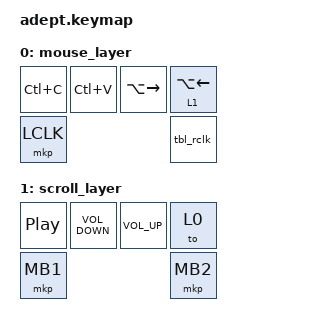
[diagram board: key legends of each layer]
/*
    No chosen zmk,matrix-transform here if using ZMK stuidio.
    https://zmk.dev/docs/features/studio#adding-zmk-studio-support-to-a-keyboard
*/

#include <behaviors.dtsi>
#include <dt-bindings/zmk/bt.h>
#include <input/processors.dtsi>
#include <dt-bindings/zmk/keys.h>
#include <dt-bindings/zmk/mouse.h>
#include <dt-bindings/zmk/outputs.h>
#include <dt-bindings/zmk/pointing.h>
#include <dt-bindings/zmk/behaviors.h>
#include <dt-bindings/zmk/input_transform.h>
#include <zephyr/dt-bindings/input/input-event-codes.h>

// keep all behavior settings for zmk studio
#define ZMK_BEHAVIORS_OMIT_KT

&sk { quick-release; };

&sl { release-after-ms = <1500>; };

&lt {
    flavor = "balanced";
    tapping-term-ms = <200>;
};

/ {
    behaviors {
        ht: hold_tap {
            compatible = "zmk,behavior-hold-tap";
            #binding-cells = <2>;
            flavor = "hold-preferred";
            tapping-term-ms = <200>;
            quick-tap-ms = <150>;
            require-prior-idle-ms = <100>;
            bindings = <&kp>, <&kp>;
        };

        // tap = right click, 2nd tap within term = toggle scroll layer
        tbl_rclk: tbl_rclk {
            compatible = "zmk,behavior-tap-dance";
            #binding-cells = <0>;
            tapping-term-ms = <250>;
            bindings = <&mkp RCLK>, <&tog 1>;
        };
    };

    combos {
        compatible = "zmk,combos";

        combo_mb3 {
            timeout-ms = <100>;
            key-positions = <4 5>;
            bindings = <&mkp MB3>;
            layers = <0 1>;
        };

        combo_close_window {
            timeout-ms = <75>;
            key-positions = <0 1>;
            bindings = <&kp LA(F4)>;
            layers = <0 1>;
        };

        combo_bootloader {
            timeout-ms = <150>;
            key-positions = <1 2>;
            bindings = <&bootloader>;
            layers = <0>;
        };

        combo_close_tab {
            timeout-ms = <75>;
            key-positions = <2 3>;
            bindings = <&kp LC(W)>;
            layers = <0 1>;
        };

        combo_scroll_tog {
            timeout-ms = <75>;
            key-positions = <3 4>;
            bindings = <&tog 1>;
            layers = <0 1>;
        };

        combo_enter {
            timeout-ms = <75>;
            key-positions = <3 5>;
            bindings = <&kp ENTER>;
            layers = <0 1>;
        };

        combo_ble_reset {
            timeout-ms = <150>;
            key-positions = <0 1 2 3>;
            bindings = <&bt BT_CLR>;
            layers = <0>;
        };
    };

    keymap {
        compatible = "zmk,keymap";
        mouse_layer {
            bindings = <
        //╭───────────┬───────────┬─────────────┬─────────────────────────╮
        //│  Copy     │  Paste    │  Alt+Right  │  scroll(hold)/Alt+Left  │
            &kp LC(C)   &kp LC(V)   &kp LA(RIGHT) &lt 1 LA(LEFT)
        //├───────────┼───────────┴─────────────┴─────────────────────────┤
        //│ Left Click│           Right Click / 2nd tap: toggle scroll    │
              &mkp LCLK                                  &tbl_rclk
        //╰───────────┴────────────────────────────────────────────────╯
            >;
        };

        scroll_layer {
            bindings = <
        //╭─────────────────┬───────────────────┬────────────────┬─────────────────╮
        //│  Play&Pause     │ Vol_down          │ Vol_up         │ to_0            │
            &kp C_PLAY_PAUSE  &kp C_VOLUME_DOWN   &kp C_VOLUME_UP  &to 0
        //├─────────────────┼───────────────────┼────────────────┼─────────────────┤
        //│  Left Click     │                   │                │ Right Click     │
              &mkp MB1                                             &mkp MB2     
        //╰─────────────────┴───────────────────┴────────────────┴─────────────────╯
            >;
        };

        extra1_layer { status = "reserved"; };

        extra2_layer { status = "reserved"; };
    };
};
